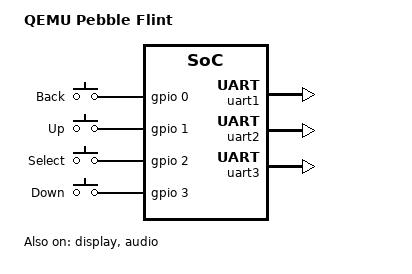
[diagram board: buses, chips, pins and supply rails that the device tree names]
// SPDX-FileCopyrightText: 2026 Core Devices LLC
// SPDX-License-Identifier: (GPL-2.0-only OR BSD-2-Clause)

/dts-v1/;

#include "qemu/pebble-cortex-m4.dtsi"

#include <dt-bindings/input/input.h>

/ {
	model = "QEMU Pebble Flint";

	compatible = "qemu,pebble-flint";

	buttons: gpio-keys {
		compatible = "gpio-keys";

		button-back {
			label = "Back";
			gpios = <&gpio 0 GPIO_ACTIVE_HIGH>;
			linux,code = <KEY_BACK>;
			debounce-interval = <0>;
		};

		button-up {
			label = "Up";
			gpios = <&gpio 1 GPIO_ACTIVE_HIGH>;
			linux,code = <KEY_UP>;
			debounce-interval = <0>;
		};

		button-select {
			label = "Select";
			gpios = <&gpio 2 GPIO_ACTIVE_HIGH>;
			linux,code = <KEY_SELECT>;
			debounce-interval = <0>;
		};

		button-down {
			label = "Down";
			gpios = <&gpio 3 GPIO_ACTIVE_HIGH>;
			linux,code = <KEY_DOWN>;
			debounce-interval = <0>;
		};
	};

	speaker: sound-speaker {
		compatible = "simple-audio-card";
		simple-audio-card,name = "speaker";

		simple-audio-card,cpu {
			sound-dai = <&audio>;
		};
	};
};

&uart1 {
	status = "okay";
};

&uart2 {
	status = "okay";
};

&uart3 {
	status = "okay";
};

&gpio {
	status = "okay";
};

&display {
	width = <144>;
	height = <168>;
	bits-per-pixel = <1>;
	status = "okay";
};

&audio {
	status = "okay";
};

&internal_flash {
	partitions {
		compatible = "fixed-partitions";
		#address-cells = <1>;
		#size-cells = <1>;

		partition@0 {
			label = "code";
			reg = <0x0 0x400000>;
		};
	};
};

&flash0 {
	status = "okay";
};
